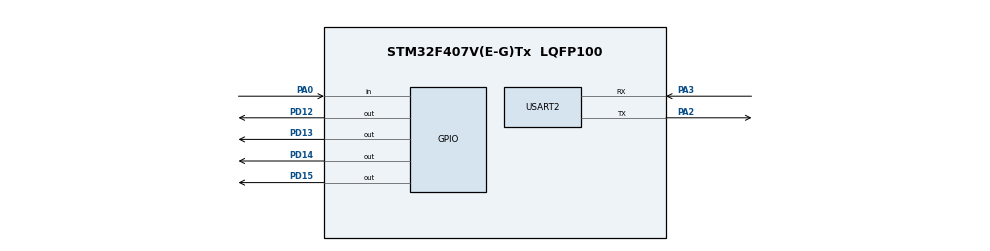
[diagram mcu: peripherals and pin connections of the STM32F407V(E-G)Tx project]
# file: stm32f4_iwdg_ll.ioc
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IWDG.Prescaler=IWDG_PRESCALER_32
IWDG.Reload=999
Mcu.Family=STM32F4
Mcu.Name=STM32F407V(E-G)Tx
Mcu.Package=LQFP100
NVIC.PriorityGroup=NVIC_PRIORITYGROUP_4
PA0-WKUP.Signal=GPIO_Input
PA2.Mode=Asynchronous
PA2.Signal=USART2_TX
PA3.Mode=Asynchronous
PA3.Signal=USART2_RX
PD12.Signal=GPIO_Output
PD13.Signal=GPIO_Output
PD14.Signal=GPIO_Output
PD15.Signal=GPIO_Output
PH0-OSC_IN.Mode=HSE-External-Oscillator
PH0-OSC_IN.Signal=RCC_OSC_IN
PH1-OSC_OUT.Mode=HSE-External-Oscillator
PH1-OSC_OUT.Signal=RCC_OSC_OUT
ProjectManager.HeapSize=0x200
ProjectManager.StackSize=0x400
ProjectManager.TargetToolchain=STM32CubeIDE
RCC.48MHZClocksFreq_Value=84000000
RCC.AHBFreq_Value=168000000
RCC.APB1CLKDivider=RCC_HCLK_DIV4
RCC.APB1Freq_Value=42000000
RCC.APB1TimFreq_Value=84000000
RCC.APB2CLKDivider=RCC_HCLK_DIV2
RCC.APB2Freq_Value=84000000
RCC.APB2TimFreq_Value=168000000
RCC.CortexFreq_Value=168000000
RCC.HCLKFreq_Value=168000000
RCC.HSE_VALUE=8000000
RCC.HSI_VALUE=16000000
RCC.LSE_VALUE=32768
RCC.PLLM=4
RCC.PLLN=168
RCC.PLLSourceVirtual=RCC_PLLSOURCE_HSE
RCC.SYSCLKFreq_VALUE=168000000
RCC.SYSCLKSource=RCC_SYSCLKSOURCE_PLLCLK
RCC.VCOOutputFreq_Value=336000000
USART2.VirtualMode=VM_ASYNC
VP_IWDG_VS_IWDG.Mode=IWDG_Activate
board=custom

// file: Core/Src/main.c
/* USER CODE BEGIN Header */
/**
  ******************************************************************************
  * @file           : main.c
  * @brief          : Main program body
  ******************************************************************************
  * @attention
  *
  * <h2><center>&copy; Copyright (c) 2022 STMicroelectronics.
  * All rights reserved.</center></h2>
  *
  * This software component is licensed by ST under BSD 3-Clause license,
  * the "License"; You may not use this file except in compliance with the
  * License. You may obtain a copy of the License at:
  *                        opensource.org/licenses/BSD-3-Clause
  *
  ******************************************************************************
  */
/* USER CODE END Header */
#include "main.h"

/* USER CODE BEGIN Includes */
#include <stdio.h>
/* USER CODE END Includes */

void SystemClock_Config(void);
static void MX_GPIO_Init(void);
static void MX_IWDG_Init(void);
static void MX_USART2_UART_Init(void);

/* USER CODE BEGIN 0 */
int __io_putchar (int ch)
{
  while (!LL_USART_IsActiveFlag_TXE(USART2));
  LL_USART_TransmitData8(USART2, (char)ch);
  return ch;
}

/* USER CODE END 0 */

int main(void)
{

  /* MCU Configuration--------------------------------------------------------*/

  /* Reset of all peripherals, Initializes the Flash interface and the Systick. */

  LL_APB2_GRP1_EnableClock(LL_APB2_GRP1_PERIPH_SYSCFG);
  LL_APB1_GRP1_EnableClock(LL_APB1_GRP1_PERIPH_PWR);

  NVIC_SetPriorityGrouping(NVIC_PRIORITYGROUP_4);

  /* System interrupt init*/
  /* SysTick_IRQn interrupt configuration */
  NVIC_SetPriority(SysTick_IRQn, NVIC_EncodePriority(NVIC_GetPriorityGrouping(),15, 0));

  /* Configure the system clock */
  SystemClock_Config();

  /* Initialize all configured peripherals */
  MX_GPIO_Init();
  MX_IWDG_Init();
  MX_USART2_UART_Init();
  printf("IWDG Test\r\n");

  /* USER CODE BEGIN 2 */
  if (LL_RCC_IsActiveFlag_IWDGRST())
  {
    printf ("Reset wywolany z IWDG\r\n");
    LL_RCC_ClearResetFlags();
  }
  else
  {
    printf("Reset bez IWDG\r\n");
  }
  /* USER CODE END 2 */

  /* Infinite loop */
  while (1)
  {

    /* USER CODE BEGIN 3 */
	if (LL_GPIO_IsInputPinSet(GPIOA , LL_GPIO_PIN_0))
	{
		printf("Dodatkowe opoznienie\r\n");
	    LL_mDelay(2000) ;
	}

	LL_GPIO_TogglePin (GPIOD,LL_GPIO_PIN_12);
	LL_GPIO_TogglePin (GPIOD,LL_GPIO_PIN_13);
	LL_GPIO_TogglePin (GPIOD,LL_GPIO_PIN_14);
	LL_GPIO_TogglePin (GPIOD,LL_GPIO_PIN_15);
    LL_mDelay(500);

	LL_IWDG_ReloadCounter(IWDG);
  }
  /* USER CODE END 3 */
}

void SystemClock_Config(void)
{
  LL_FLASH_SetLatency(LL_FLASH_LATENCY_5);
  while(LL_FLASH_GetLatency()!= LL_FLASH_LATENCY_5)
  {
  }
  LL_PWR_SetRegulVoltageScaling(LL_PWR_REGU_VOLTAGE_SCALE1);
  LL_RCC_HSE_Enable();

   /* Wait till HSE is ready */
  while(LL_RCC_HSE_IsReady() != 1)
  {

  }
  LL_RCC_LSI_Enable();

   /* Wait till LSI is ready */
  while(LL_RCC_LSI_IsReady() != 1)
  {

  }
  LL_RCC_PLL_ConfigDomain_SYS(LL_RCC_PLLSOURCE_HSE, LL_RCC_PLLM_DIV_4, 168, LL_RCC_PLLP_DIV_2);
  LL_RCC_PLL_Enable();

   /* Wait till PLL is ready */
  while(LL_RCC_PLL_IsReady() != 1)
  {

  }
  LL_RCC_SetAHBPrescaler(LL_RCC_SYSCLK_DIV_1);
  LL_RCC_SetAPB1Prescaler(LL_RCC_APB1_DIV_4);
  LL_RCC_SetAPB2Prescaler(LL_RCC_APB2_DIV_2);
  LL_RCC_SetSysClkSource(LL_RCC_SYS_CLKSOURCE_PLL);

   /* Wait till System clock is ready */
  while(LL_RCC_GetSysClkSource() != LL_RCC_SYS_CLKSOURCE_STATUS_PLL)
  {

  }
  LL_Init1msTick(168000000);
  LL_SetSystemCoreClock(168000000);
}

static void MX_IWDG_Init(void)
{

  LL_IWDG_Enable(IWDG);
  LL_IWDG_EnableWriteAccess(IWDG);
  LL_IWDG_SetPrescaler(IWDG, LL_IWDG_PRESCALER_32);
  LL_IWDG_SetReloadCounter(IWDG, 999);
  while (LL_IWDG_IsReady(IWDG) != 1) { }

  LL_IWDG_ReloadCounter(IWDG);
}

static void MX_USART2_UART_Init(void)
{

  LL_USART_InitTypeDef USART_InitStruct = {0};

  LL_GPIO_InitTypeDef GPIO_InitStruct = {0};

  /* Peripheral clock enable */
  LL_APB1_GRP1_EnableClock(LL_APB1_GRP1_PERIPH_USART2);

  LL_AHB1_GRP1_EnableClock(LL_AHB1_GRP1_PERIPH_GPIOA);
  /**USART2 GPIO Configuration
  PA2   ------> USART2_TX
  PA3   ------> USART2_RX
  */
  GPIO_InitStruct.Pin = LL_GPIO_PIN_2|LL_GPIO_PIN_3;
  GPIO_InitStruct.Mode = LL_GPIO_MODE_ALTERNATE;
  GPIO_InitStruct.Speed = LL_GPIO_SPEED_FREQ_VERY_HIGH;
  GPIO_InitStruct.OutputType = LL_GPIO_OUTPUT_PUSHPULL;
  GPIO_InitStruct.Pull = LL_GPIO_PULL_NO;
  GPIO_InitStruct.Alternate = LL_GPIO_AF_7;
  LL_GPIO_Init(GPIOA, &GPIO_InitStruct);

  USART_InitStruct.BaudRate = 115200;
  USART_InitStruct.DataWidth = LL_USART_DATAWIDTH_8B;
  USART_InitStruct.StopBits = LL_USART_STOPBITS_1;
  USART_InitStruct.Parity = LL_USART_PARITY_NONE;
  USART_InitStruct.TransferDirection = LL_USART_DIRECTION_TX_RX;
  USART_InitStruct.HardwareFlowControl = LL_USART_HWCONTROL_NONE;
  USART_InitStruct.OverSampling = LL_USART_OVERSAMPLING_16;
  LL_USART_Init(USART2, &USART_InitStruct);
  LL_USART_ConfigAsyncMode(USART2);
  LL_USART_Enable(USART2);

}

static void MX_GPIO_Init(void)
{
  LL_GPIO_InitTypeDef GPIO_InitStruct = {0};

  /* GPIO Ports Clock Enable */
  LL_AHB1_GRP1_EnableClock(LL_AHB1_GRP1_PERIPH_GPIOH);
  LL_AHB1_GRP1_EnableClock(LL_AHB1_GRP1_PERIPH_GPIOA);
  LL_AHB1_GRP1_EnableClock(LL_AHB1_GRP1_PERIPH_GPIOD);

  /**/
  LL_GPIO_ResetOutputPin(GPIOD, LL_GPIO_PIN_12|LL_GPIO_PIN_13|LL_GPIO_PIN_14|LL_GPIO_PIN_15);

  /**/
  GPIO_InitStruct.Pin = LL_GPIO_PIN_0;
  GPIO_InitStruct.Mode = LL_GPIO_MODE_INPUT;
  GPIO_InitStruct.Pull = LL_GPIO_PULL_NO;
  LL_GPIO_Init(GPIOA, &GPIO_InitStruct);

  /**/
  GPIO_InitStruct.Pin = LL_GPIO_PIN_12|LL_GPIO_PIN_13|LL_GPIO_PIN_14|LL_GPIO_PIN_15;
  GPIO_InitStruct.Mode = LL_GPIO_MODE_OUTPUT;
  GPIO_InitStruct.Speed = LL_GPIO_SPEED_FREQ_LOW;
  GPIO_InitStruct.OutputType = LL_GPIO_OUTPUT_PUSHPULL;
  GPIO_InitStruct.Pull = LL_GPIO_PULL_NO;
  LL_GPIO_Init(GPIOD, &GPIO_InitStruct);

}

void Error_Handler(void)
{
  __disable_irq();
  while (1)
  {
  }
}

/************************ (C) COPYRIGHT STMicroelectronics *****END OF FILE****/
